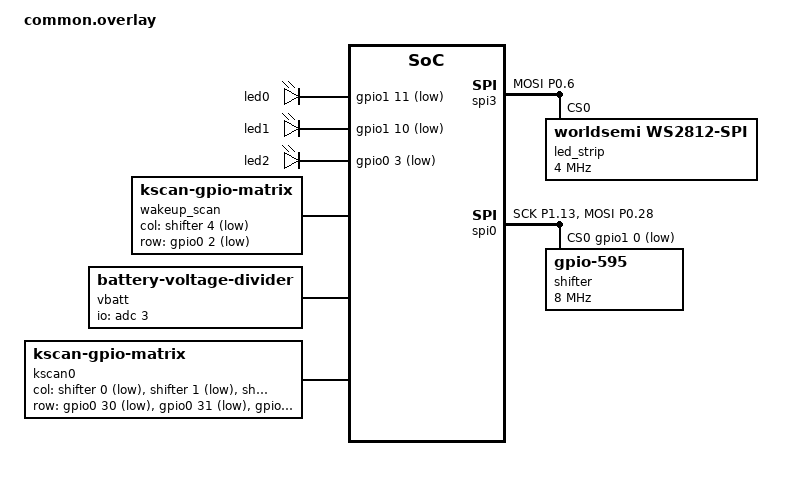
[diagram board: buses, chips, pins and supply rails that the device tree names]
#include <dt-bindings/led/led.h>

&pinctrl {
    spi0_default: spi0_default {
        group1 {
            psels = <NRF_PSEL(SPIM_SCK,  1, 13)>,
                    <NRF_PSEL(SPIM_MOSI, 0, 28)>;
        };
    };

    spi0_sleep: spi0_sleep {
        group1 {
            psels = <NRF_PSEL(SPIM_SCK,  1, 13)>,
                    <NRF_PSEL(SPIM_MOSI, 0, 28)>;
            low-power-enable;
        };
    };

    spi3_default: spi3_default {
        group1 {
            psels = <NRF_PSEL(SPIM_MOSI, 0, 6)>;
        };
    };

    spi3_sleep: spi3_sleep {
        group1 {
            psels = <NRF_PSEL(SPIM_MOSI, 0, 6)>;
            low-power-enable;
        };
    };
};

&spi3 {
    compatible = "nordic,nrf-spim";
    status = "okay";

    pinctrl-0 = <&spi3_default>;
    pinctrl-1 = <&spi3_sleep>;
    pinctrl-names = "default", "sleep";

    led_strip: ws2812@0 {
        compatible = "worldsemi,ws2812-spi";

        /* SPI */
        reg = <0>; /* ignored, but necessary for SPI bindings */
        spi-max-frequency = <4000000>;

        /* WS2812 */
        chain-length = <1>; /* arbitrary; change at will */
        spi-one-frame = <0x70>;
        spi-zero-frame = <0x40>;

        color-mapping = <LED_COLOR_ID_GREEN LED_COLOR_ID_RED LED_COLOR_ID_BLUE>;
    };
};

&spi0 {
    compatible = "nordic,nrf-spim";
    pinctrl-0 = <&spi0_default>;
    pinctrl-1 = <&spi0_sleep>;
    pinctrl-names = "default", "sleep";
    status = "okay";
    cs-gpios = <&gpio1 0 GPIO_ACTIVE_LOW>;
    shifter: 595@0 {
        compatible = "zmk,gpio-595";
        status = "okay";
        gpio-controller;
        spi-max-frequency = <8000000>; //default 400K to 8M, for NRF52840, spim3 max 32M, other 8M
        reg = <0>;
        #gpio-cells = <2>;
        ngpios = <16>;
    };
};

/ {
    aliases {
        indicator-r = &led0;
        indicator-g = &led1;
        indicator-b = &led2;
    };
    leds {
        /* P1.11 R, P1.10 G, P0.03 B */
        compatible = "gpio-leds";
        status = "okay";
        led0: led_0 { gpios = <&gpio1 11 GPIO_ACTIVE_LOW>; }; //r
        led1: led_1 { gpios = <&gpio1 10 GPIO_ACTIVE_LOW>; }; //g
        led2: led_2 { gpios = <&gpio0  3 GPIO_ACTIVE_LOW>; }; //b
    };

    /* soft off */
    wakeup_scan: wakeup_scan {
        compatible = "zmk,kscan-gpio-matrix";
        wakeup-source;
        diode-direction = "col2row";
        // KEY F at RC(3,4)
        col-gpios = <&shifter 4 GPIO_ACTIVE_LOW>;
        row-gpios = <&gpio0  2 (GPIO_ACTIVE_LOW | GPIO_PULL_UP)>;
    };
    soft_off_wakers {
        compatible = "zmk,soft-off-wakeup-sources";
        wakeup-sources = <&wakeup_scan>;
    };
    /* end of soft-off */

    chosen {
        zmk,underglow = &led_strip;
        zmk,battery = &vbatt;
        zmk,kscan = &kscan0;
        zmk,physical-layout = &hhkb_layout;
    };

    vbatt: vbatt {
        compatible = "zmk,battery-voltage-divider";
        io-channels = <&adc 3>;
        output-ohms = <2000000>;
        full-ohms = <(2000000 + 820000)>;
    };

    kscan0: kscan_keys {
        compatible = "zmk,kscan-gpio-matrix";
        wakeup-source;
        diode-direction = "col2row";
        col-gpios
            = <&shifter 0 GPIO_ACTIVE_LOW>
            , <&shifter 1 GPIO_ACTIVE_LOW>
            , <&shifter 2 GPIO_ACTIVE_LOW>
            , <&shifter 3 GPIO_ACTIVE_LOW>
            , <&shifter 4 GPIO_ACTIVE_LOW>
            , <&shifter 5 GPIO_ACTIVE_LOW>
            , <&shifter 6 GPIO_ACTIVE_LOW>
            , <&shifter 7 GPIO_ACTIVE_LOW>
            , <&shifter 8 GPIO_ACTIVE_LOW>
            , <&shifter 9 GPIO_ACTIVE_LOW>
            , <&shifter 10 GPIO_ACTIVE_LOW>
            , <&shifter 11 GPIO_ACTIVE_LOW>
            , <&shifter 12 GPIO_ACTIVE_LOW>
            , <&shifter 13 GPIO_ACTIVE_LOW>
            , <&shifter 14 GPIO_ACTIVE_LOW>
            , <&shifter 15 GPIO_ACTIVE_LOW>
            ;
        
        row-gpios
            = <&gpio0 30 (GPIO_ACTIVE_LOW | GPIO_PULL_UP)>
            , <&gpio0 31 (GPIO_ACTIVE_LOW | GPIO_PULL_UP)>
            , <&gpio0 29 (GPIO_ACTIVE_LOW | GPIO_PULL_UP)>
            , <&gpio0  2 (GPIO_ACTIVE_LOW | GPIO_PULL_UP)>
            , <&gpio0  9 (GPIO_ACTIVE_LOW | GPIO_PULL_UP)>
            , <&gpio0 10 (GPIO_ACTIVE_LOW | GPIO_PULL_UP)>
            ;
    };
};
